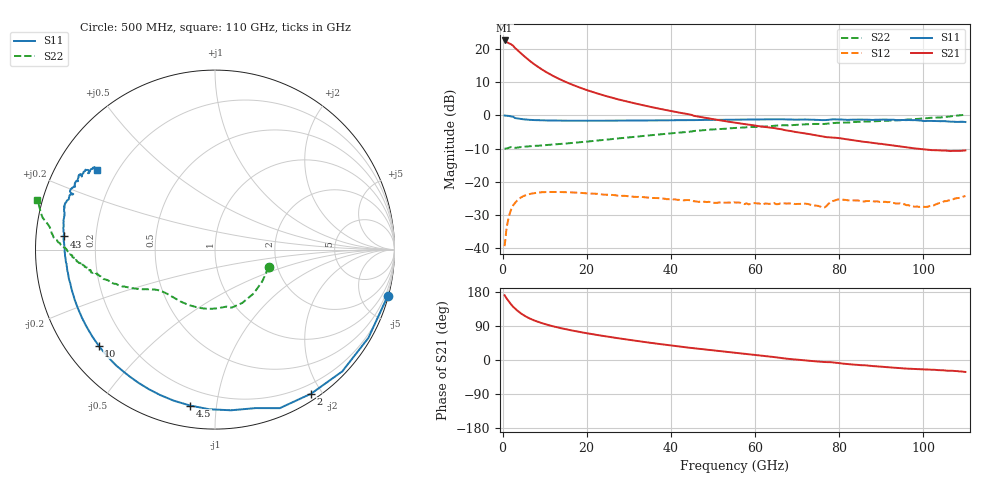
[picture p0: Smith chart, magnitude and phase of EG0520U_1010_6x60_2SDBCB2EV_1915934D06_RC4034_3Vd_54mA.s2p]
!File name = EG0520U_1010_6x60_2SDBCB2EV_1915934D06_RC4034_3Vd_54mA.s2p
!Base file name = EG0520U_1010_6x60_2SDBCB2EV_1915934D06_RC4034
!Date = 8/23/2019
!Time = 12:57 PM
!Test duration(min) = 0.15
!Test = S-Parameters
!MPTS version = 8.91.5
!State File = C:\Data\PNA\20190821205423\S-Parameters_2019-08-23.sta
!Cal File =
!ComputerName = CMPE-LAB-6
!Comments =
!Attenuation = 0
!Z0 = 50
!Input Power(dBm) = -13.00
!Device ID = EG0520U_1010_6x60_2SDBCB2EV
!Row = 40
!Column = 34
!Technology = QPHT09
!Lot/Wafer = 1915934D06
!Gate Size = 360
!Mask = EG0520
!Cal Standards = GaAs BCB
!Cal Kit = EG2306
!Job Number = 20190821205423
!Device Type = FET
!set_Vg(v) = -1.500
!set_Vd(v) = 3.000
!set_Vd(mA) = 54.000
!file_name = EG0520U_1010_6x60_2SDBCB2EV_1915934D06_RC4034_3Vd_54mA.s2p
!Vd(V) = 3.000
!Vd(mA) = 54.059
!Vg(V) = -0.440
!Vg(mA) = -0.001
# GHz  S  DB  R  50
!%	Freq(GHz)  s11(dB)  s11(deg)  s21(dB)  s21(deg)  s12(dB)  s12(deg)  s22(dB)  s22(deg)
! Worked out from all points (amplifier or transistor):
!   220 points, 500 MHz to 110 GHz, reference 50 ohm
!   highest |S21| = 22.6 dB at 500 MHz (marker M1)
!   |S21| within 3 dB of that: start of sweep to 3.627 GHz
!   unconditionally stable (mu >= 1): 32.41 GHz to 103.1 GHz
!   at 18.5 GHz: K = 0.55, MSG = 15.8 dB, |S12| = -23.3 dB
!   at 55.5 GHz: K = 1.53, MAG = 7.7 dB, |S12| = -26.2 dB
!   at 110 GHz: K = -1.40, MSG = 6.9 dB, |S12| = -24.3 dB
!   S11 on the Smith chart (normalised r, x): 500 MHz: 0.12, -7.53; 2 GHz: 0.08, -1.87; 4.5 GHz: 0.11, -0.85; 10 GHz: 0.10, -0.36; 43 GHz: 0.08, +0.04; 110 GHz: 0.13, +0.30
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0.5  -0.04 -15.1  22.55 170.8  -39.38 81.4  -10.05 -17.8
1  -0.12 -29.9  22.09 162.1  -33.62 73.4  -9.97 -33.7
1.5  -0.16 -43.7  21.71 154.6  -30.48 65.9  -9.74 -48.7
2  -0.31 -56.2  21.44 147.2  -28.50 59.0  -9.53 -62.9
2.5  -0.41 -67.8  20.98 140.7  -27.14 53.1  -9.46 -74.1
3  -0.80 -75.5  20.28 135.6  -26.34 48.8  -9.80 -78.8
3.5  -0.92 -84.4  19.70 130.5  -25.60 44.4  -9.70 -87.0
4.5  -1.11 -99.1  18.54 122.0  -24.63 37.1  -9.53 -100.5
5.5  -1.25 -110.6  17.43 115.1  -24.05 31.4  -9.42 -110.4
7  -1.39 -123.7  15.89 106.9  -23.54 25.1  -9.24 -120.9
8.5  -1.45 -133.1  14.54 100.5  -23.24 20.6  -9.13 -127.4
10  -1.51 -140.5  13.32 95.1  -23.11 16.7  -8.99 -132.6
13.5  -1.59 -152.6  10.94 85.0  -23.07 10.8  -8.64 -140.0
19  -1.63 -164.0  8.07 72.7  -23.37 5.4  -8.01 -145.7
26.5  -1.61 -173.2  5.15 59.1  -24.00 2.4  -7.06 -150.1
37  -1.51 178.7  2.07 42.7  -24.90 2.5  -5.76 -155.4
43  -1.46 175.0  0.61 34.4  -25.57 4.3  -5.08 -158.4
55.5  -1.31 168.0  -2.23 19.0  -26.25 8.0  -3.79 -165.7
73.5  -1.32 159.1  -5.78 -2.7  -27.02 5.9  -2.59 -173.4
92  -1.33 150.9  -8.93 -19.4  -26.10 -7.7  -1.57 179.4
101  -1.67 149.0  -10.38 -25.0  -27.53 -2.4  -0.83 174.7
110  -2.01 145.8  -10.55 -31.5  -24.28 -6.7  0.25 164.6
